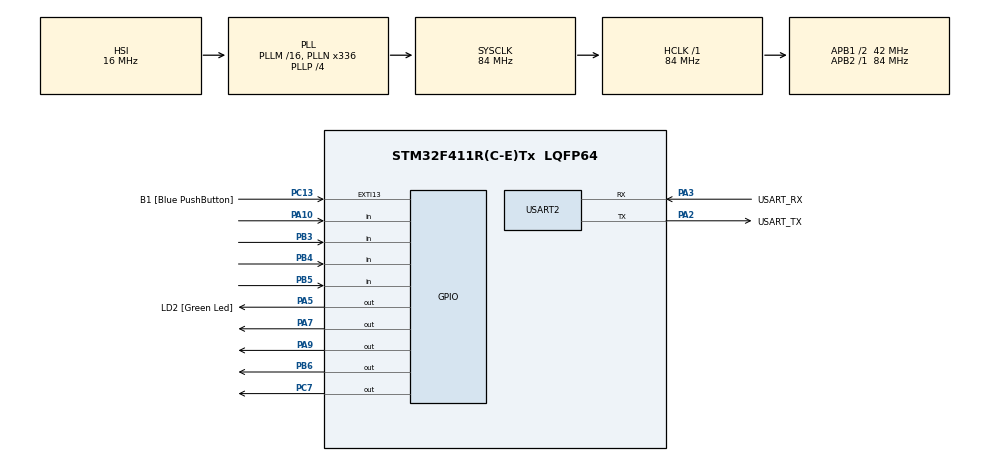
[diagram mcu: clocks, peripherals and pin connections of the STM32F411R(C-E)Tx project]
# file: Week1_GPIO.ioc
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Mcu.Family=STM32F4
Mcu.Name=STM32F411R(C-E)Tx
Mcu.Package=LQFP64
NVIC.PriorityGroup=NVIC_PRIORITYGROUP_0
PA10.Signal=GPIO_Input
PA13.GPIO_Label=TMS
PA13.Mode=Serial_Wire
PA13.Signal=SYS_JTMS-SWDIO
PA14.GPIO_Label=TCK
PA14.Mode=Serial_Wire
PA14.Signal=SYS_JTCK-SWCLK
PA2.GPIO_Label=USART_TX
PA2.Mode=Asynchronous
PA2.Signal=USART2_TX
PA3.GPIO_Label=USART_RX
PA3.Mode=Asynchronous
PA3.Signal=USART2_RX
PA5.GPIO_Label=LD2 [Green Led]
PA5.Signal=GPIO_Output
PA7.Signal=GPIO_Output
PA9.Signal=GPIO_Output
PB3.Signal=GPIO_Input
PB4.Signal=GPIO_Input
PB5.Signal=GPIO_Input
PB6.Signal=GPIO_Output
PC13-ANTI_TAMP.GPIO_Label=B1 [Blue PushButton]
PC13-ANTI_TAMP.GPIO_ModeDefaultEXTI=GPIO_MODE_IT_FALLING
PC13-ANTI_TAMP.Signal=GPXTI13
PC14-OSC32_IN.Mode=LSE-External-Oscillator
PC14-OSC32_IN.Signal=RCC_OSC32_IN
PC15-OSC32_OUT.Mode=LSE-External-Oscillator
PC15-OSC32_OUT.Signal=RCC_OSC32_OUT
PC7.Signal=GPIO_Output
PH0\ -\ OSC_IN.Mode=HSE-External-Clock-Source
PH0\ -\ OSC_IN.Signal=RCC_OSC_IN
PH1\ -\ OSC_OUT.Mode=HSE-External-Clock-Source
PH1\ -\ OSC_OUT.Signal=RCC_OSC_OUT
ProjectManager.HeapSize=0x200
ProjectManager.StackSize=0x400
ProjectManager.TargetToolchain=STM32CubeIDE
RCC.48MHZClocksFreq_Value=84000000
RCC.AHBFreq_Value=84000000
RCC.APB1CLKDivider=RCC_HCLK_DIV2
RCC.APB1Freq_Value=42000000
RCC.APB1TimFreq_Value=84000000
RCC.APB2Freq_Value=84000000
RCC.APB2TimFreq_Value=84000000
RCC.CortexFreq_Value=84000000
RCC.FLatency-AdvancedSettings=FLASH_LATENCY_2
RCC.HCLKFreq_Value=84000000
RCC.HSE_VALUE=8000000
RCC.HSI_VALUE=16000000
RCC.PLLN=336
RCC.PLLP=RCC_PLLP_DIV4
RCC.SYSCLKFreq_VALUE=84000000
RCC.SYSCLKSource=RCC_SYSCLKSOURCE_PLLCLK
RCC.VCOOutputFreq_Value=336000000
USART2.VirtualMode=VM_ASYNC
board=NUCLEO-F411RE

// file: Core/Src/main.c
/* USER CODE BEGIN Header */
/**
  ******************************************************************************
  * @file           : main.c
  * @brief          : Main program body
  ******************************************************************************
  * @attention
  *
  * <h2><center>&copy; Copyright (c) 2021 STMicroelectronics.
  * All rights reserved.</center></h2>
  *
  * This software component is licensed by ST under BSD 3-Clause license,
  * the "License"; You may not use this file except in compliance with the
  * License. You may obtain a copy of the License at:
  *                        opensource.org/licenses/BSD-3-Clause
  *
  ******************************************************************************
  */
/* USER CODE END Header */
#include "main.h"

UART_HandleTypeDef huart2;

void SystemClock_Config(void);
static void MX_GPIO_Init(void);
static void MX_USART2_UART_Init(void);

int main(void)
{

  /* MCU Configuration--------------------------------------------------------*/

  /* Reset of all peripherals, Initializes the Flash interface and the Systick. */
  HAL_Init();

  /* Configure the system clock */
  SystemClock_Config();

  /* Initialize all configured peripherals */
  MX_GPIO_Init();
  MX_USART2_UART_Init();
  /* USER CODE BEGIN 2 */
  GPIO_PinState SwitchState[2]; // Now,last
  GPIO_PinState SwitchState2[2];
  GPIO_PinState SwitchState3[2];
  uint16_t LED1_HalfPeriod=1000; // 0.5Hz
  uint16_t LED3_time=0;
  uint32_t TimeStamp=0;
  uint32_t TimeStampSW3=0;
  uint32_t TimeStampButton=0;
  uint32_t TimeStampButton2=0;
  uint32_t TimeStampButton3=0;
  uint8_t count=0;
  uint8_t counttime=0;
  uint8_t c=0;

  enum{
	  Start=0,s1,s2,On1,Off1,On2,Off2
  };
  /* USER CODE END 2 */

  /* Infinite loop */
  /* USER CODE BEGIN WHILE */
  while (1)
  {
	  SwitchState[0]= HAL_GPIO_ReadPin(GPIOA, GPIO_PIN_10); // read PA10
	  SwitchState2[0]= HAL_GPIO_ReadPin(GPIOB, GPIO_PIN_3); // read PB3
	  SwitchState3[0]= HAL_GPIO_ReadPin(GPIOB, GPIO_PIN_5); // read PB5

    /* USER CODE END WHILE */

    /* USER CODE BEGIN 3 */
	//TASK!////////////////
	if(HAL_GetTick()- TimeStampButton >=100){
		TimeStampButton =HAL_GetTick();

	// switch press is LOW
	if(SwitchState[1]== GPIO_PIN_SET && SwitchState[0]== GPIO_PIN_RESET)
	{
		if(LED1_HalfPeriod==1000)//0.5Hz to 1Hz
		{
			LED1_HalfPeriod =500;
		}
		else if(LED1_HalfPeriod==500)//1Hz to 2Hz
		{
			LED1_HalfPeriod =250;
		}
		else if(LED1_HalfPeriod==250)//2Hz to 3 Hz
		{
			LED1_HalfPeriod =166.6;
		}
		else if(LED1_HalfPeriod==167)//2Hz to 3 Hz
		{
			LED1_HalfPeriod =1000;
		}
		else
		{
			LED1_HalfPeriod =1000;
		}
	}

	SwitchState[1]=SwitchState[0];
	}
	//Run LED1
	if(HAL_GetTick()-TimeStamp >= LED1_HalfPeriod)
	{
		TimeStamp = HAL_GetTick();
		//Toggle LED1
		if(HAL_GPIO_ReadPin(GPIOA, GPIO_PIN_9)==GPIO_PIN_SET )
		{
			HAL_GPIO_WritePin(GPIOA, GPIO_PIN_9, GPIO_PIN_RESET);
		}
		else
		{
			HAL_GPIO_WritePin(GPIOA, GPIO_PIN_9, GPIO_PIN_SET);
		}

	}
	////////////////////////////////Task2///////////////////////////////
	if(HAL_GetTick()- TimeStampButton2 >=100){
			TimeStampButton2 =HAL_GetTick();
	if(SwitchState2[1]== GPIO_PIN_SET && SwitchState2[0]== GPIO_PIN_RESET){
		count++;
		if (count%2==0){
			HAL_GPIO_WritePin(GPIOC, GPIO_PIN_7, GPIO_PIN_RESET);
		}
		else{
			HAL_GPIO_WritePin(GPIOC, GPIO_PIN_7, GPIO_PIN_SET);
		}
	}
	SwitchState2[1]=SwitchState2[0];
	}
	/////////////////////Task3//////////////////////////////////////////////
//	if(HAL_GetTick()- TimeStampButton >=100){
//		TimeStampButton =HAL_GetTick();

		if (SwitchState3[1] == GPIO_PIN_SET
				&& SwitchState3[0] == GPIO_PIN_RESET) {

			counttime++;

		}
		SwitchState3[1] = SwitchState3[0];
		//}
		c = counttime % 2;
		switch (c) {
		case 0:
			if (HAL_GetTick() - TimeStampSW3 >= LED3_time) {
				TimeStampSW3 = HAL_GetTick();
				//Toggle LED3
				if (HAL_GPIO_ReadPin(GPIOB, GPIO_PIN_6) == GPIO_PIN_SET) {
					HAL_GPIO_WritePin(GPIOB, GPIO_PIN_6, GPIO_PIN_RESET);
					LED3_time = 500;
				} else {
					HAL_GPIO_WritePin(GPIOB, GPIO_PIN_6, GPIO_PIN_SET);
					LED3_time = 1500;
				}

			}
			break;
		case 1:
			if (HAL_GetTick() - TimeStampSW3 >= LED3_time) {
				TimeStampSW3 = HAL_GetTick();
				//Toggle LED3
				if (HAL_GPIO_ReadPin(GPIOB, GPIO_PIN_6) == GPIO_PIN_SET) {
					HAL_GPIO_WritePin(GPIOB, GPIO_PIN_6, GPIO_PIN_RESET);
					LED3_time = 1500;
				} else {
					HAL_GPIO_WritePin(GPIOB, GPIO_PIN_6, GPIO_PIN_SET);
					LED3_time = 500;
				}

			}
			break;
		}

  }
  /* USER CODE END 3 */

}

void SystemClock_Config(void)
{
  RCC_OscInitTypeDef RCC_OscInitStruct = {0};
  RCC_ClkInitTypeDef RCC_ClkInitStruct = {0};

  /** Configure the main internal regulator output voltage
  */
  __HAL_RCC_PWR_CLK_ENABLE();
  __HAL_PWR_VOLTAGESCALING_CONFIG(PWR_REGULATOR_VOLTAGE_SCALE1);
  /** Initializes the RCC Oscillators according to the specified parameters
  * in the RCC_OscInitTypeDef structure.
  */
  RCC_OscInitStruct.OscillatorType = RCC_OSCILLATORTYPE_HSI;
  RCC_OscInitStruct.HSIState = RCC_HSI_ON;
  RCC_OscInitStruct.HSICalibrationValue = RCC_HSICALIBRATION_DEFAULT;
  RCC_OscInitStruct.PLL.PLLState = RCC_PLL_ON;
  RCC_OscInitStruct.PLL.PLLSource = RCC_PLLSOURCE_HSI;
  RCC_OscInitStruct.PLL.PLLM = 16;
  RCC_OscInitStruct.PLL.PLLN = 336;
  RCC_OscInitStruct.PLL.PLLP = RCC_PLLP_DIV4;
  RCC_OscInitStruct.PLL.PLLQ = 4;
  if (HAL_RCC_OscConfig(&RCC_OscInitStruct) != HAL_OK)
  {
    Error_Handler();
  }
  /** Initializes the CPU, AHB and APB buses clocks
  */
  RCC_ClkInitStruct.ClockType = RCC_CLOCKTYPE_HCLK|RCC_CLOCKTYPE_SYSCLK
                              |RCC_CLOCKTYPE_PCLK1|RCC_CLOCKTYPE_PCLK2;
  RCC_ClkInitStruct.SYSCLKSource = RCC_SYSCLKSOURCE_PLLCLK;
  RCC_ClkInitStruct.AHBCLKDivider = RCC_SYSCLK_DIV1;
  RCC_ClkInitStruct.APB1CLKDivider = RCC_HCLK_DIV2;
  RCC_ClkInitStruct.APB2CLKDivider = RCC_HCLK_DIV1;

  if (HAL_RCC_ClockConfig(&RCC_ClkInitStruct, FLASH_LATENCY_2) != HAL_OK)
  {
    Error_Handler();
  }
}

static void MX_USART2_UART_Init(void)
{

  huart2.Instance = USART2;
  huart2.Init.BaudRate = 115200;
  huart2.Init.WordLength = UART_WORDLENGTH_8B;
  huart2.Init.StopBits = UART_STOPBITS_1;
  huart2.Init.Parity = UART_PARITY_NONE;
  huart2.Init.Mode = UART_MODE_TX_RX;
  huart2.Init.HwFlowCtl = UART_HWCONTROL_NONE;
  huart2.Init.OverSampling = UART_OVERSAMPLING_16;
  if (HAL_UART_Init(&huart2) != HAL_OK)
  {
    Error_Handler();
  }

}

static void MX_GPIO_Init(void)
{
  GPIO_InitTypeDef GPIO_InitStruct = {0};

  /* GPIO Ports Clock Enable */
  __HAL_RCC_GPIOC_CLK_ENABLE();
  __HAL_RCC_GPIOH_CLK_ENABLE();
  __HAL_RCC_GPIOA_CLK_ENABLE();
  __HAL_RCC_GPIOB_CLK_ENABLE();

  /*Configure GPIO pin Output Level */
  HAL_GPIO_WritePin(GPIOA, LD2_Pin|GPIO_PIN_7|GPIO_PIN_9, GPIO_PIN_RESET);

  /*Configure GPIO pin Output Level */
  HAL_GPIO_WritePin(GPIOC, GPIO_PIN_7, GPIO_PIN_RESET);

  /*Configure GPIO pin Output Level */
  HAL_GPIO_WritePin(GPIOB, GPIO_PIN_6, GPIO_PIN_RESET);

  /*Configure GPIO pin : B1_Pin */
  GPIO_InitStruct.Pin = B1_Pin;
  GPIO_InitStruct.Mode = GPIO_MODE_IT_FALLING;
  GPIO_InitStruct.Pull = GPIO_NOPULL;
  HAL_GPIO_Init(B1_GPIO_Port, &GPIO_InitStruct);

  /*Configure GPIO pins : LD2_Pin PA7 PA9 */
  GPIO_InitStruct.Pin = LD2_Pin|GPIO_PIN_7|GPIO_PIN_9;
  GPIO_InitStruct.Mode = GPIO_MODE_OUTPUT_PP;
  GPIO_InitStruct.Pull = GPIO_NOPULL;
  GPIO_InitStruct.Speed = GPIO_SPEED_FREQ_LOW;
  HAL_GPIO_Init(GPIOA, &GPIO_InitStruct);

  /*Configure GPIO pin : PC7 */
  GPIO_InitStruct.Pin = GPIO_PIN_7;
  GPIO_InitStruct.Mode = GPIO_MODE_OUTPUT_PP;
  GPIO_InitStruct.Pull = GPIO_NOPULL;
  GPIO_InitStruct.Speed = GPIO_SPEED_FREQ_LOW;
  HAL_GPIO_Init(GPIOC, &GPIO_InitStruct);

  /*Configure GPIO pin : PA10 */
  GPIO_InitStruct.Pin = GPIO_PIN_10;
  GPIO_InitStruct.Mode = GPIO_MODE_INPUT;
  GPIO_InitStruct.Pull = GPIO_NOPULL;
  HAL_GPIO_Init(GPIOA, &GPIO_InitStruct);

  /*Configure GPIO pins : PB3 PB4 PB5 */
  GPIO_InitStruct.Pin = GPIO_PIN_3|GPIO_PIN_4|GPIO_PIN_5;
  GPIO_InitStruct.Mode = GPIO_MODE_INPUT;
  GPIO_InitStruct.Pull = GPIO_NOPULL;
  HAL_GPIO_Init(GPIOB, &GPIO_InitStruct);

  /*Configure GPIO pin : PB6 */
  GPIO_InitStruct.Pin = GPIO_PIN_6;
  GPIO_InitStruct.Mode = GPIO_MODE_OUTPUT_PP;
  GPIO_InitStruct.Pull = GPIO_NOPULL;
  GPIO_InitStruct.Speed = GPIO_SPEED_FREQ_LOW;
  HAL_GPIO_Init(GPIOB, &GPIO_InitStruct);

}

void Error_Handler(void)
{
  __disable_irq();
  while (1)
  {
  }
}

/************************ (C) COPYRIGHT STMicroelectronics *****END OF FILE****/
